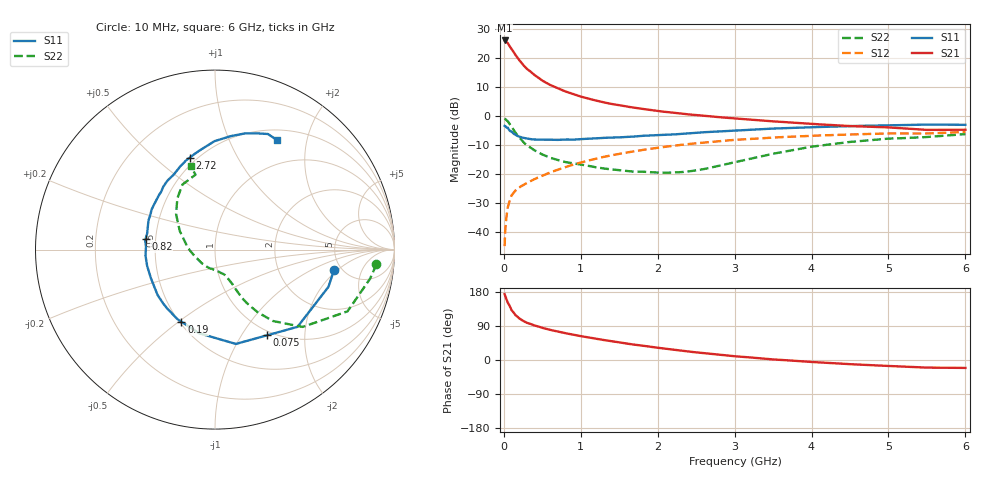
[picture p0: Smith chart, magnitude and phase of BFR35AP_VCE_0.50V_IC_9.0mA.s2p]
! Infineon Technologies  Discrete & RF Semiconductors
! BFR35AP
! VCE = 0.50 V,  IC =  9.0 mA
! Common Emitter S-Parameters:  Nov 2015
# GHz  S  MA  R  50
!  f  S11  S21  S12  S22
! GHz  MAG  ANG  MAG  ANG  MAG  ANG  MAG  ANG
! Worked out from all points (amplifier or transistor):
!   210 points, 10 MHz to 6 GHz, reference 50 ohm
!   highest |S21| = 26.1 dB at 10 MHz (marker M1)
!   |S21| within 3 dB of that: start of sweep to 102.7 MHz
!   unconditionally stable (mu >= 1): 350 MHz to end of sweep
!   at 185 MHz: K = 0.68, MSG = 22.5 dB, |S12| = -25.0 dB
!   at 1.52 GHz: K = 1.33, MAG = 4.9 dB, |S12| = -13.0 dB
!   at 6 GHz: K = 1.12, MAG = -1.7 dB, |S12| = -5.5 dB
!   S11 on the Smith chart (normalised r, x): 10 MHz: 4.37, -1.78; 75 MHz: 0.94, -1.30; 190 MHz: 0.51, -0.51; 820 MHz: 0.44, +0.06; 2.72 GHz: 0.46, +0.66; 6 GHz: 0.63, +1.52
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0.01  0.6733 -9.5  20.15 174.0  0.0056 82.0  0.9035 -5.2
0.02  0.6652 -18.2  19.83 167.6  0.0112 78.9  0.8787 -10.7
0.05  0.6298 -43.1  18.16 151.8  0.026 69.4  0.8145 -25.0
0.075  0.5581 -58.9  16.06 142.9  0.0339 62.4  0.7255 -32.3
0.1  0.5383 -77.5  14.45 131.7  0.0421 58.1  0.6514 -41.4
0.15  0.4743 -100.9  11.37 118.5  0.0512 52.0  0.513 -50.9
0.19  0.4435 -114.9  9.647 111.8  0.0566 50.6  0.4426 -54.5
0.2  0.4402 -118.6  9.241 109.8  0.058 50.3  0.4253 -55.6
0.26  0.4168 -133.7  7.384 102.2  0.0646 50.3  0.3468 -59.2
0.3  0.4079 -141.6  6.516 98.2  0.0691 51.2  0.3087 -60.8
0.4  0.3912 -155.7  5.072 91.0  0.081 52.9  0.2538 -62.3
0.5  0.3889 -166.6  4.078 84.8  0.0924 54.5  0.2155 -63.2
0.6  0.3887 -175.2  3.436 79.5  0.1049 55.5  0.1896 -64.7
0.82  0.3914 171.3  2.594 70.0  0.1331 56.1  0.1579 -68.0
1.02  0.398 159.7  2.124 62.3  0.1589 55.6  0.1425 -71.7
1.4  0.4218 144.1  1.607 49.6  0.2086 52.5  0.1191 -86.2
2.02  0.4681 123.6  1.205 31.8  0.2836 44.9  0.1041 -120.9
2.72  0.5317 105.3  0.972 15.7  0.3585 34.8  0.1304 -172.1
3.1  0.5652 97.4  0.884 8.4  0.3922 29.0  0.1691 167.1
4.1  0.6428 80.9  0.715 -6.3  0.4588 14.8  0.3049 135.0
5.1  0.6907 69.5  0.621 -16.6  0.4967 1.9  0.4089 114.1
6  0.7014 60.6  0.577 -20.9  0.528 -6.9  0.4842 106.2
